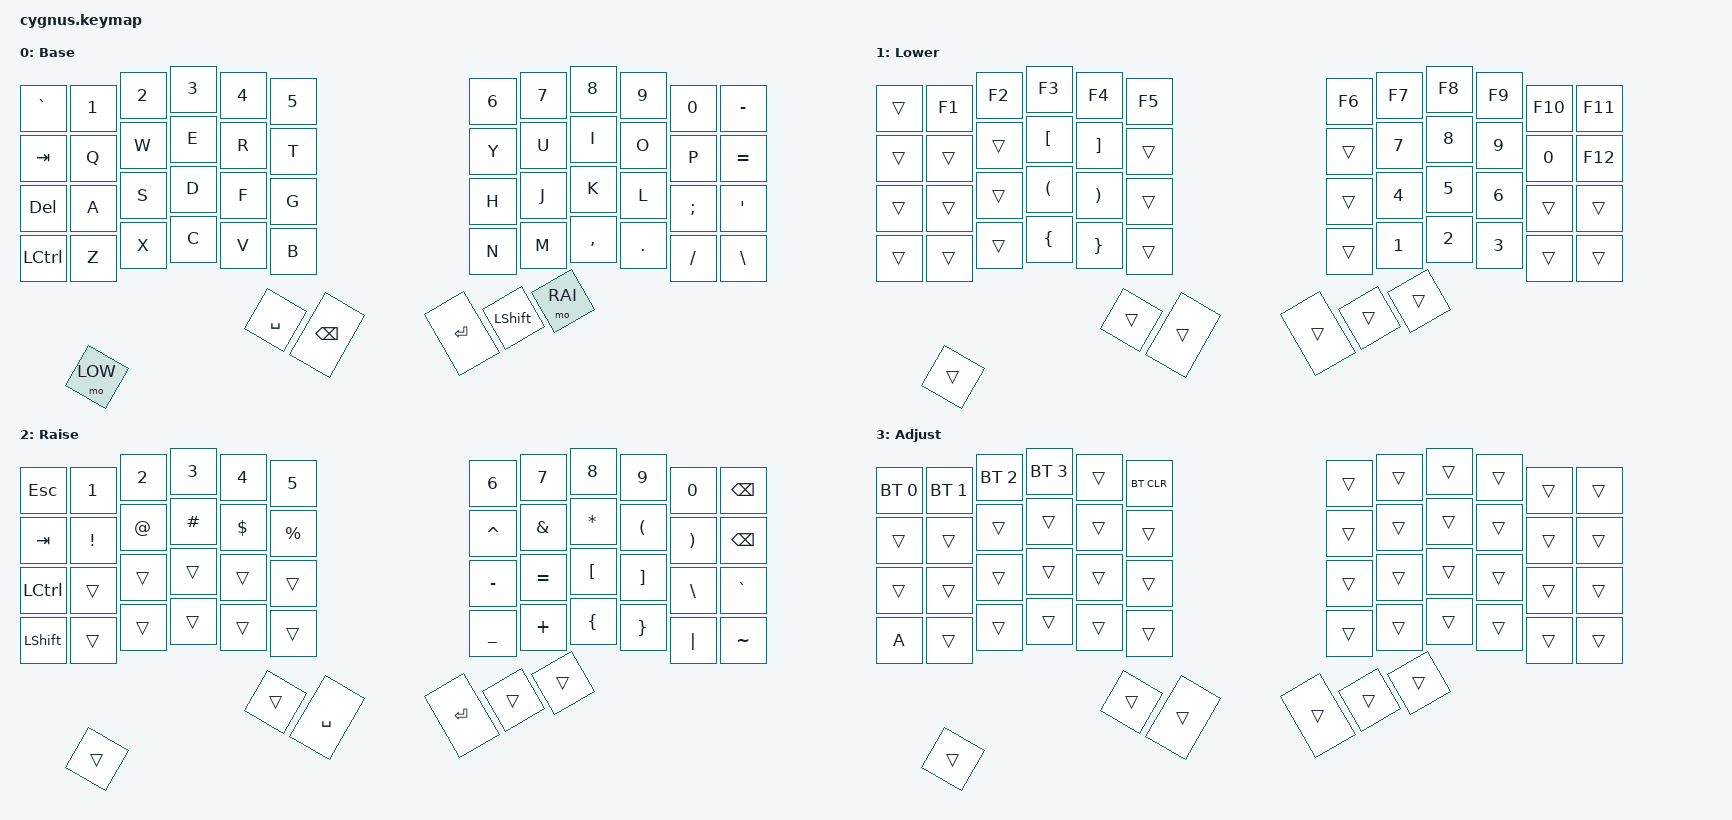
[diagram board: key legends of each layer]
#include <behaviors.dtsi>
#include <dt-bindings/zmk/keys.h>
#include <dt-bindings/zmk/bt.h>

#define DEF   0
#define LOW   1
#define RAI   2
#define ADJ   3

/ {
        keymap {
                compatible = "zmk,keymap";

                default_layer { // Layer 0
                        display-name = "Base";
// -----------------------------------------------------------------------------------------
// |  `   |  1  |  2  |  3  |  4  |  5  |   |  6  |  7   |  8  |  9  |  0  |  -   |
// |  TAB |  Q  |  W  |  E  |  R  |  T  |   |  Y  |  U   |  I  |  O  |  P  |  =   |
// | DEL  |  A  |  S  |  D  |  F  |  G  |   |  H  |  J   |  K  |  L  |  ;  |  '   |
// | CTRL |  Z  |  X  |  C  |  V  |  B  |   |  N  |  M   |  ,  |  .  |  /  |  \   |
//                    | LWR | SPC | BKSP|   | ENT | SHFT | RSE |
                        bindings = <
   &kp GRAVE &kp N1 &kp N2   &kp N3    &kp N4    &kp N5  &kp N6    &kp N7   &kp N8    &kp N9  &kp N0   &kp MINUS
   &kp TAB   &kp Q  &kp W    &kp E     &kp R     &kp T   &kp Y     &kp U    &kp I     &kp O   &kp P    &kp EQUAL
   &kp DEL   &kp A  &kp S    &kp D     &kp F     &kp G   &kp H     &kp J    &kp K     &kp L   &kp SEMI &kp SQT
   &kp LCTRL &kp Z  &kp X    &kp C     &kp V     &kp B   &kp N     &kp M    &kp COMMA &kp DOT &kp FSLH &kp BSLH
                    &mo LOW  &kp SPACE &kp BSPC  &kp RET &kp LSHFT &mo RAI
                        >;
                };
                lower_layer { // Layer 1
                        display-name = "Lower";
// -----------------------------------------------------------------------------------------
// |      |  F1 |  F2 |  F3 |  F4 |  F5 |   |  F6 |  F7 |  F8 |  F9 | F10 | F11 |
// |      |     |     |  [  |  ]  |     |   |     |  7  |  8  |  9  |  0  | F12 |
// |      |     |     |  (  |  )  |     |   |     |  4  |  5  |  6  |     |     |
// |      |     |     |  {  |  }  |     |   |     |  1  |  2  |  3  |     |     |
//                    | LWR |     |     |   |     |     | RSE |
                        bindings = <
   &trans  &kp F1  &kp F2  &kp F3    &kp F4    &kp F5   &kp F6  &kp F7  &kp F8  &kp F9  &kp F10  &kp F11
   &trans  &trans  &trans  &kp LBKT  &kp RBKT  &trans   &trans  &kp N7  &kp N8  &kp N9  &kp N0   &kp F12
   &trans  &trans  &trans  &kp LPAR  &kp RPAR  &trans   &trans  &kp N4  &kp N5  &kp N6  &trans   &trans
   &trans  &trans  &trans  &kp LBRC  &kp RBRC  &trans   &trans  &kp N1  &kp N2  &kp N3  &trans   &trans
                           &trans    &trans    &trans   &trans  &trans  &trans
                        >;
                };

                raise_layer { // Layer 2
                        display-name = "Raise";
// -----------------------------------------------------------------------------------------
// |  ESC |  1  |  2  |  3  |  4  |  5  |   |  6  |  7  |  8  |  9  |  0  | BKSP |
// |  TAB |  !  |  @  |  #  |  $  |  %  |   |  ^  |  &  |  *  |  (  |  )  | BKSP |
// | CTRL |     |     |     |     |     |   |  -  |  =  |  [  |  ]  |  \  |  `   |
// | SHFT |     |     |     |     |     |   |  _  |  +  |  {  |  }  | "|" |  ~   |
//                    | LWR |     | SPC |   | ENT |     | RSE |
                        bindings = <
   &kp ESC   &kp N1   &kp N2 &kp N3   &kp N4   &kp N5      &kp N6    &kp N7    &kp N8    &kp N9   &kp N0   &kp BSPC
   &kp TAB   &kp EXCL &kp AT &kp HASH &kp DLLR &kp PRCNT   &kp CARET &kp AMPS  &kp ASTRK &kp LPAR &kp RPAR &kp BSPC
   &kp LCTRL &trans   &trans &trans   &trans   &trans      &kp MINUS &kp EQUAL &kp LBKT  &kp RBKT &kp BSLH &kp GRAVE
   &kp LSHFT &trans   &trans &trans   &trans   &trans      &kp UNDER &kp PLUS  &kp LBRC  &kp RBRC &kp PIPE &kp TILDE
                             &trans   &trans   &kp SPACE   &kp RET   &trans    &trans
                        >;
                };

                adjust_layer { // Layer 3
                        display-name = "Adjust";
                        bindings = <
   &bt BT_SEL 0 &bt BT_SEL 1 &bt BT_SEL 2 &bt BT_SEL 3 &trans &bt BT_CLR  &trans &trans &trans &trans &trans &trans
   &trans       &trans       &trans       &trans       &trans &trans      &trans &trans &trans &trans &trans &trans
   &trans       &trans       &trans       &trans       &trans &trans      &trans &trans &trans &trans &trans &trans
   &kp A        &trans       &trans       &trans       &trans &trans      &trans &trans &trans &trans &trans &trans
                                          &trans       &trans &trans      &trans &trans &trans
                        >;
                };
        };
};


// https://zmk.dev/docs/keymaps/conditional-layers
/ {
    conditional_layers {
        compatible = "zmk,conditional-layers";
        tri_layer {
            if-layers = <1 2>;
            then-layer = <3>;
        };
    };
};

// // https://zmk.dev/docs/features/lighting#enabling-rgb-underglow
// &led_strip {
//     chain-length = <1>;
// };



